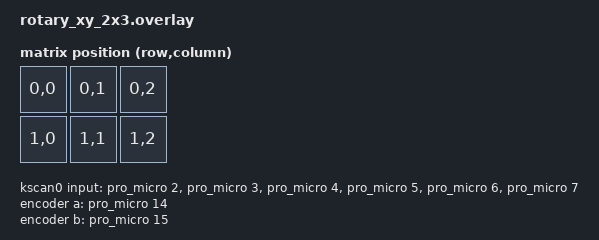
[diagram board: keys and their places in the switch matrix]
#include <dt-bindings/zmk/matrix_transform.h>
#include <dt-bindings/zmk/input_transform.h>
#include <zephyr/dt-bindings/input/input-event-codes.h>
#include "rotary_xy_2x3-layouts.dtsi"

/ {
    chosen {
        zmk,kscan = &kscan0;
        zmk,physical-layout = &physical_layout0;
    };

    // 1. CRITICAL MATRIX FIX: Defines a 2-Row by 3-Column matrix map for ZMK Studio
    default_transform: keymap_transform0 {
        compatible = "zmk,matrix-transform";
        columns = <3>;
        rows = <2>;
        map = <
            RC(0,0) RC(0,1) RC(0,2) // Row 0 (Top Row): Keys 1, 2, 3
            RC(1,0) RC(1,1) RC(1,2) // Row 1 (Bottom Row): Keys 4, 5, 6
        >;
    };

    // 2. Direct pin layout mapped cleanly to Row 0 and Row 1 matrix addresses
    kscan0: kscan_direct {
        compatible = "zmk,kscan-gpio-direct";
        wakeup-source;

        input-gpios
            = <&pro_micro  2 (GPIO_ACTIVE_LOW | GPIO_PULL_UP)> // Row 0, Col 0 (Key 1)
            , <&pro_micro  3 (GPIO_ACTIVE_LOW | GPIO_PULL_UP)> // Row 0, Col 1 (Key 2)
            , <&pro_micro  4 (GPIO_ACTIVE_LOW | GPIO_PULL_UP)> // Row 0, Col 2 (Key 3)
            , <&pro_micro  5 (GPIO_ACTIVE_LOW | GPIO_PULL_UP)> // Row 1, Col 0 (Key 4)
            , <&pro_micro  6 (GPIO_ACTIVE_LOW | GPIO_PULL_UP)> // Row 1, Col 1 (Key 5)
            , <&pro_micro  7 (GPIO_ACTIVE_LOW | GPIO_PULL_UP)> // Row 1, Col 2 (Key 6)
            ;
    };

    // 3. ROTARY ENCODER HARDWARE MAPPING
    encoder: encoder {
        compatible = "alps,ec11";
        a-gpios = <&pro_micro 14 (GPIO_ACTIVE_HIGH | GPIO_PULL_UP)>; 
        b-gpios = <&pro_micro 15 (GPIO_ACTIVE_HIGH | GPIO_PULL_UP)>; 
        steps = <80>;
    };

    sensors: sensors {
        compatible = "zmk,keymap-sensors";
        sensors = <&encoder>;
        triggers-per-rotation = <20>;
    };
};

// A3 D18 P0.29 (ADC5) P1.15
// A2 D19 P0.02 (ADC0) P0.02
// A1 D20 P0.31 (ADC7) P0.29
// A0 D21 P0.30 (ADC6) P0.31ewewewew
//        input-gpios
//            = <&pro_micro  2 (GPIO_ACTIVE_LOW | GPIO_PULL_UP)> // Key 1 (P0.17)
//            , <&pro_micro  3 (GPIO_ACTIVE_LOW | GPIO_PULL_UP)> // Key 2 (P0.20)
//            , <&pro_micro  4 (GPIO_ACTIVE_LOW | GPIO_PULL_UP)> // Key 3 (P0.22)
//            , <&pro_micro  5 (GPIO_ACTIVE_LOW | GPIO_PULL_UP)> // Key 4 (P0.24)
//            , <&pro_micro  6 (GPIO_ACTIVE_LOW | GPIO_PULL_UP)> // Key 5 (P1.00)
//            , <&pro_micro  7 (GPIO_ACTIVE_LOW | GPIO_PULL_UP)> // Key 6 (P0.11)
//            ;

